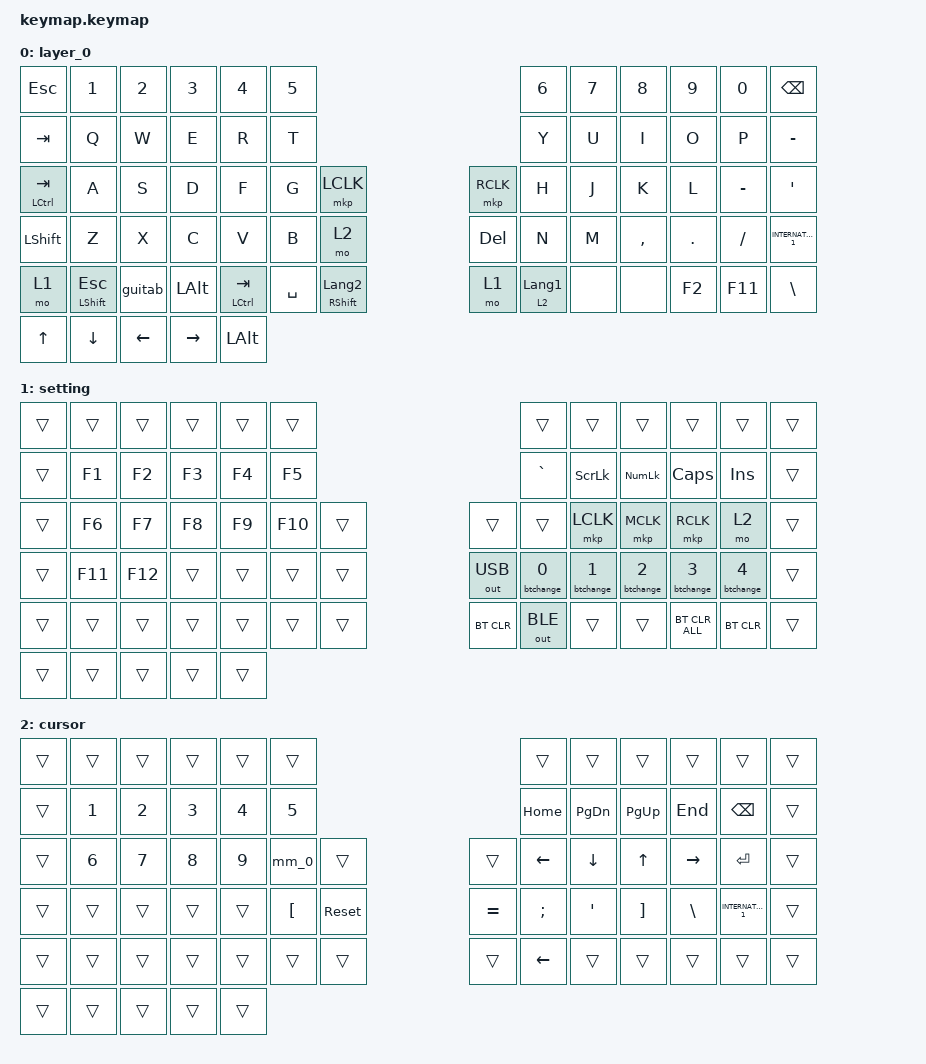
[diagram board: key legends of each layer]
#include <behaviors.dtsi>
#include <dt-bindings/zmk/bt.h>
#include <dt-bindings/zmk/keys.h>
#include <dt-bindings/zmk/outputs.h>
#include <dt-bindings/zmk/pointing.h>

#define MOUSE 1

&mkp_input_listener { input-processors = <&zip_temp_layer MOUSE 100000>; };

&mt { hold-while-undecided; };

&lt {
    hold-while-undecided;
    flavor = "hold-preferred";
};

/ {
    zip_temp_layer: zip_temp_layer {
        compatible = "zmk,input-processor-temp-layer";
        #input-processor-cells = <2>;
        require-prior-idle-ms = <200>;
        excluded-positions = <33 34 35 36 54 56 55 53 58>;
    };

    pointing_listener: pointing_listener {
        compatible = "zmk,input-listener";
        input-processors =
            <&zip_temp_layer MOUSE 100000>,
            <&zip_xy_scaler 8 16>,
            <&zip_xy_transform (INPUT_TRANSFORM_X_INVERT | INPUT_TRANSFORM_Y_INVERT)>;

        scroller {
            layers = <2>;
            input-processors =
                <&zip_xy_transform (INPUT_TRANSFORM_X_INVERT)>,
                <&zip_xy_scaler 8 16>,
                <&zip_x_scaler 0 16>,
                <&zip_xy_to_scroll_mapper>;

            process-next;
        };
    };

    macros {
        exit_AML: exit_AML {
            compatible = "zmk,behavior-macro";
            wait-ms = <0>;
            tap-ms = <0>;
            #binding-cells = <0>;
            bindings = <&tog_off MOUSE>;
            label = "exit_AML";
        };

        kp_exit_AML: kp_exit_AML {
            compatible = "zmk,behavior-macro-one-param";
            wait-ms = <0>;
            tap-ms = <0>;
            #binding-cells = <1>;
            bindings = <&macro_param_1to1 &kp MACRO_PLACEHOLDER &exit_AML>;
            label = "KP_exit_AML";
        };

        btchange: btchange {
            compatible = "zmk,behavior-macro-one-param";
            #binding-cells = <1>;
            bindings = <&out OUT_BLE &macro_param_1to2 &bt BT_SEL MACRO_PLACEHOLDER>;
            label = "BTCHANGE";
        };
    };

    behaviors {
        tog_off: toggle_layer_off {
            compatible = "zmk,behavior-toggle-layer";
            #binding-cells = <1>;
            display-name = "Toggle Layer Off";
            toggle-mode = "off";
        };

        mt_exit_AML_on_tap: mt_exit_AML_on_tap {
            compatible = "zmk,behavior-hold-tap";
            label = "MT_exit_AML_ON_TAP";
            bindings = <&kp>, <&kp_exit_AML>;

            #binding-cells = <2>;
            tapping-term-ms = <200>;
            flavor = "hold-preferred";
            hold-while-undecided;
        };

        mo_exit_aml_on_tap: mo_exit_aml_on_tap {
            compatible = "zmk,behavior-hold-tap";
            label = "MO_EXIT_AML_ON_TAP";
            bindings = <&mo>, <&kp_exit_AML>;

            #binding-cells = <2>;
            tapping-term-ms = <200>;
            flavor = "hold-preferred";
            hold-while-undecided;
        };

        guitab: guitab {
            compatible = "zmk,behavior-mod-morph";
            label = "GUITAB";
            bindings = <&kp LGUI>, <&kp TAB>;

            #binding-cells = <0>;
            mods = <(MOD_LCTL)>;
            keep-mods = <(MOD_LCTL)>;
        };

        mm_0: mm_0 {
            compatible = "zmk,behavior-mod-morph";
            label = "MM_0";
            bindings = <&kp N0>, <&kp INTERNATIONAL_3>;

            #binding-cells = <0>;
            keep-mods = <(MOD_RSFT)>;
            mods = <(MOD_RSFT)>;
        };
    };

    combos {
        compatible = "zmk,combos";

        aaaaa {
            bindings = <&none>;
            key-positions = <33 34 35 36 54 56 55 53 58>;
        };
    };

    keymap {
        compatible = "zmk,keymap";

        layer_0 {
            bindings = <
&kp ESC               &kp N1                                 &kp N2    &kp N3        &kp N4                                &kp N5                                                             &kp N6            &kp N7  &kp N8     &kp N9   &kp N0     &kp BSPC
&kp TAB               &kp Q                                  &kp W     &kp E         &kp R                                 &kp T                                                              &kp Y             &kp U   &kp I      &kp O    &kp P      &kp MINUS
&mt LEFT_CONTROL TAB  &kp A                                  &kp S     &kp D         &kp F                                 &kp G      &mkp LCLK                                   &mkp RCLK   &kp H             &kp J   &kp K      &kp L    &kp MINUS  &kp SINGLE_QUOTE
&kp LSHFT             &kp Z                                  &kp X     &kp C         &kp V                                 &kp B      &mo 2                                       &kp DELETE  &kp N             &kp M   &kp COMMA  &kp DOT  &kp SLASH  &kp INTERNATIONAL_1
&mo 1                 &mt_exit_AML_on_tap LEFT_SHIFT ESCAPE  &guitab   &kp LEFT_ALT  &mt_exit_AML_on_tap LEFT_CONTROL TAB  &kp SPACE  &mt_exit_AML_on_tap RIGHT_SHIFT LANGUAGE_2  &mo 1       &lt 2 LANGUAGE_1  &none   &none      &kp F2   &kp F11    &kp BACKSLASH
&kp UP_ARROW          &kp DOWN                               &kp LEFT  &kp RIGHT     &kp LEFT_ALT
            >;
        };

        setting {
            bindings = <
&trans  &trans   &trans   &trans  &trans  &trans                         &trans        &trans          &trans          &trans          &trans       &trans
&trans  &kp F1   &kp F2   &kp F3  &kp F4  &kp F5                         &kp GRAVE     &kp SCROLLLOCK  &kp KP_NUMLOCK  &kp CAPSLOCK    &kp INS      &trans
&trans  &kp F6   &kp F7   &kp F8  &kp F9  &kp F10  &trans  &trans        &trans        &mkp LCLK       &mkp MCLK       &mkp RCLK       &mo 2        &trans
&trans  &kp F11  &kp F12  &trans  &trans  &trans   &trans  &out OUT_USB  &btchange 0   &btchange 1     &btchange 2     &btchange 3     &btchange 4  &trans
&trans  &trans   &trans   &trans  &trans  &trans   &trans  &bt BT_CLR    &out OUT_BLE  &trans          &trans          &bt BT_CLR_ALL  &bt BT_CLR   &trans
&trans  &trans   &trans   &trans  &trans
            >;
        };

        cursor {
            bindings = <
&trans  &trans        &trans        &trans        &trans        &trans                                   &trans         &trans         &trans             &trans         &trans               &trans
&trans  &kp NUMBER_1  &kp NUMBER_2  &kp NUMBER_3  &kp NUMBER_4  &kp N5                                   &kp HOME       &kp PAGE_DOWN  &kp PG_UP          &kp END        &kp BACKSPACE        &trans
&trans  &kp NUMBER_6  &kp N7        &kp N8        &kp N9        &mm_0             &trans      &trans     &kp LEFT       &kp DOWN       &kp UP_ARROW       &kp RIGHT      &kp ENTER            &trans
&trans  &trans        &trans        &trans        &trans        &kp LEFT_BRACKET  &sys_reset  &kp EQUAL  &kp SEMICOLON  &kp SQT        &kp RIGHT_BRACKET  &kp BACKSLASH  &kp INTERNATIONAL_1  &trans
&trans  &trans        &trans        &trans        &trans        &trans            &trans      &trans     &kp LEFT       &trans         &trans             &trans         &trans               &trans
&trans  &trans        &trans        &trans        &trans
            >;
        };
    };
};
